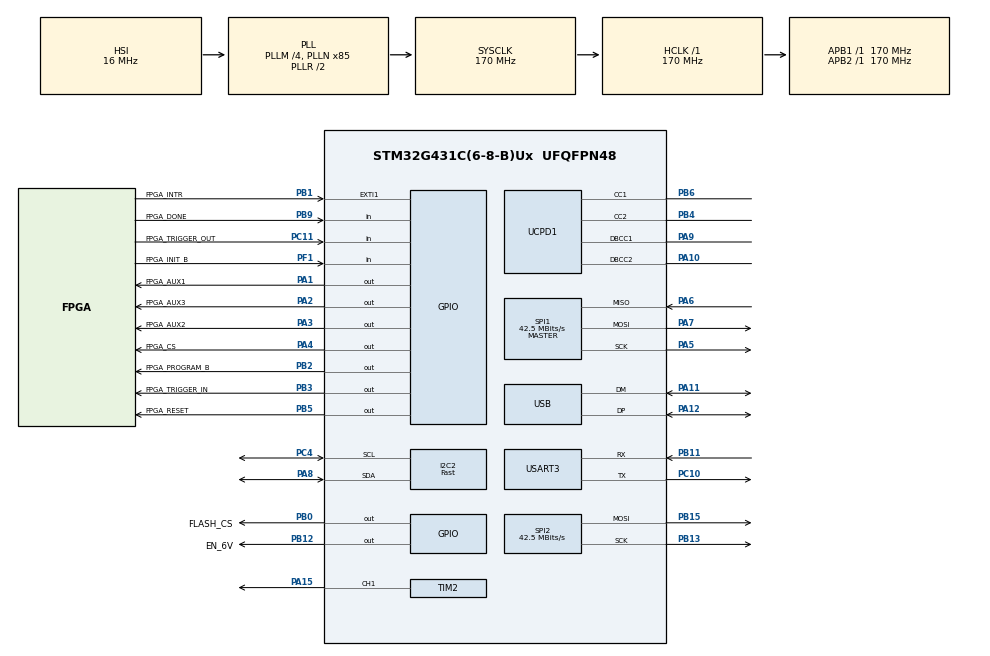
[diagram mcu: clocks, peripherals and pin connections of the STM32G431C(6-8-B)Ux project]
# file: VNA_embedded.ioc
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ADC1.Channel-0\#ChannelRegularConversion=ADC_CHANNEL_TEMPSENSOR_ADC1
ADC1.ClockPrescaler=ADC_CLOCK_ASYNC_DIV4
ADC1.NbrOfConversionFlag=1
ADC1.OffsetNumber-0\#ChannelRegularConversion=ADC_OFFSET_NONE
ADC1.Rank-0\#ChannelRegularConversion=1
ADC1.SamplingTime-0\#ChannelRegularConversion=ADC_SAMPLETIME_92CYCLES_5
ADC1.master=1
Dma.Request0=UCPD1_RX
Dma.Request1=UCPD1_TX
Dma.Request2=SPI1_RX
Dma.Request3=SPI1_TX
Dma.SPI1_RX.2.Direction=DMA_PERIPH_TO_MEMORY
Dma.SPI1_RX.2.EventEnable=DISABLE
Dma.SPI1_RX.2.Instance=DMA1_Channel3
Dma.SPI1_RX.2.MemDataAlignment=DMA_MDATAALIGN_BYTE
Dma.SPI1_RX.2.MemInc=DMA_MINC_ENABLE
Dma.SPI1_RX.2.Mode=DMA_NORMAL
Dma.SPI1_RX.2.PeriphDataAlignment=DMA_PDATAALIGN_BYTE
Dma.SPI1_RX.2.PeriphInc=DMA_PINC_DISABLE
Dma.SPI1_RX.2.Polarity=HAL_DMAMUX_REQ_GEN_RISING
Dma.SPI1_RX.2.Priority=DMA_PRIORITY_VERY_HIGH
Dma.SPI1_RX.2.RequestNumber=1
Dma.SPI1_RX.2.SignalID=NONE
Dma.SPI1_RX.2.SyncEnable=DISABLE
Dma.SPI1_RX.2.SyncPolarity=HAL_DMAMUX_SYNC_NO_EVENT
Dma.SPI1_RX.2.SyncRequestNumber=1
Dma.SPI1_RX.2.SyncSignalID=NONE
Dma.SPI1_TX.3.Direction=DMA_MEMORY_TO_PERIPH
Dma.SPI1_TX.3.EventEnable=DISABLE
Dma.SPI1_TX.3.Instance=DMA1_Channel4
Dma.SPI1_TX.3.MemDataAlignment=DMA_MDATAALIGN_BYTE
Dma.SPI1_TX.3.MemInc=DMA_MINC_ENABLE
Dma.SPI1_TX.3.Mode=DMA_NORMAL
Dma.SPI1_TX.3.PeriphDataAlignment=DMA_PDATAALIGN_BYTE
Dma.SPI1_TX.3.PeriphInc=DMA_PINC_DISABLE
Dma.SPI1_TX.3.Polarity=HAL_DMAMUX_REQ_GEN_RISING
Dma.SPI1_TX.3.Priority=DMA_PRIORITY_VERY_HIGH
Dma.SPI1_TX.3.RequestNumber=1
Dma.SPI1_TX.3.SignalID=NONE
Dma.SPI1_TX.3.SyncEnable=DISABLE
Dma.SPI1_TX.3.SyncPolarity=HAL_DMAMUX_SYNC_NO_EVENT
Dma.SPI1_TX.3.SyncRequestNumber=1
Dma.SPI1_TX.3.SyncSignalID=NONE
Dma.UCPD1_RX.0.Direction=DMA_PERIPH_TO_MEMORY
Dma.UCPD1_RX.0.EventEnable=DISABLE
Dma.UCPD1_RX.0.Instance=DMA1_Channel1
Dma.UCPD1_RX.0.MemDataAlignment=DMA_MDATAALIGN_BYTE
Dma.UCPD1_RX.0.MemInc=DMA_MINC_ENABLE
Dma.UCPD1_RX.0.Mode=DMA_NORMAL
Dma.UCPD1_RX.0.PeriphDataAlignment=DMA_PDATAALIGN_BYTE
Dma.UCPD1_RX.0.PeriphInc=DMA_PINC_DISABLE
Dma.UCPD1_RX.0.Polarity=HAL_DMAMUX_REQ_GEN_RISING
Dma.UCPD1_RX.0.Priority=DMA_PRIORITY_LOW
Dma.UCPD1_RX.0.RequestNumber=1
Dma.UCPD1_RX.0.SignalID=NONE
Dma.UCPD1_RX.0.SyncEnable=DISABLE
Dma.UCPD1_RX.0.SyncPolarity=HAL_DMAMUX_SYNC_NO_EVENT
Dma.UCPD1_RX.0.SyncRequestNumber=1
Dma.UCPD1_RX.0.SyncSignalID=NONE
Dma.UCPD1_TX.1.Direction=DMA_MEMORY_TO_PERIPH
Dma.UCPD1_TX.1.EventEnable=DISABLE
Dma.UCPD1_TX.1.Instance=DMA1_Channel2
Dma.UCPD1_TX.1.MemDataAlignment=DMA_MDATAALIGN_BYTE
Dma.UCPD1_TX.1.MemInc=DMA_MINC_ENABLE
Dma.UCPD1_TX.1.Mode=DMA_NORMAL
Dma.UCPD1_TX.1.PeriphDataAlignment=DMA_PDATAALIGN_BYTE
Dma.UCPD1_TX.1.PeriphInc=DMA_PINC_DISABLE
Dma.UCPD1_TX.1.Polarity=HAL_DMAMUX_REQ_GEN_RISING
Dma.UCPD1_TX.1.Priority=DMA_PRIORITY_LOW
Dma.UCPD1_TX.1.RequestNumber=1
Dma.UCPD1_TX.1.SignalID=NONE
Dma.UCPD1_TX.1.SyncEnable=DISABLE
Dma.UCPD1_TX.1.SyncPolarity=HAL_DMAMUX_SYNC_NO_EVENT
Dma.UCPD1_TX.1.SyncRequestNumber=1
Dma.UCPD1_TX.1.SyncSignalID=NONE
FREERTOS.INCLUDE_uxTaskPriorityGet=0
FREERTOS.INCLUDE_vTaskDelete=0
FREERTOS.INCLUDE_vTaskPrioritySet=0
FREERTOS.INCLUDE_vTaskSuspend=1
FREERTOS.INCLUDE_xTaskResumeFromISR=0
FREERTOS.MEMORY_ALLOCATION=1
FREERTOS.Tasks01=defaultTask,0,1024,StartDefaultTask,Default,NULL,Static,defaultTaskBuffer,defaultTaskControlBlock
FREERTOS.configENABLE_BACKWARD_COMPATIBILITY=1
FREERTOS.configTOTAL_HEAP_SIZE=2048
FREERTOS.configUSE_IDLE_HOOK=1
FREERTOS.configUSE_MUTEXES=1
FREERTOS.configUSE_NEWLIB_REENTRANT=1
I2C2.I2C_Speed_Mode=I2C_Fast
I2C2.Timing=0x10802D9B
Mcu.Family=STM32G4
Mcu.Name=STM32G431C(6-8-B)Ux
Mcu.Package=UFQFPN48
NVIC.DMA1_Channel1_IRQn=true\:7\:0\:true\:false\:true\:true\:false\:true
NVIC.DMA1_Channel2_IRQn=true\:7\:0\:true\:false\:true\:true\:false\:true
NVIC.DMA1_Channel3_IRQn=true\:2\:0\:true\:false\:true\:false\:false\:true
NVIC.DMA1_Channel4_IRQn=true\:2\:0\:true\:false\:true\:false\:false\:true
NVIC.PriorityGroup=NVIC_PRIORITYGROUP_4
NVIC.TIM1_TRG_COM_TIM17_IRQn=true\:0\:0\:true\:false\:true\:false\:false\:true
NVIC.TimeBase=TIM1_TRG_COM_TIM17_IRQn
NVIC.TimeBaseIP=TIM17
NVIC.UCPD1_IRQn=true\:7\:0\:true\:false\:true\:true\:true\:false
PA1.GPIO_Label=FPGA_AUX1
PA1.GPIO_Speed=GPIO_SPEED_FREQ_VERY_HIGH
PA1.Signal=GPIO_Output
PA10.Mode=EnableDeadBattery
PA10.Signal=UCPD1_DBCC2
PA11.Mode=Device
PA11.Signal=USB_DM
PA12.Mode=Device
PA12.Signal=USB_DP
PA13.Mode=Serial_Wire
PA13.Signal=SYS_JTMS-SWDIO
PA14.Mode=Serial_Wire
PA14.Signal=SYS_JTCK-SWCLK
PA15.Signal=S_TIM2_CH1
PA2.GPIO_Label=FPGA_AUX3
PA2.GPIO_Speed=GPIO_SPEED_FREQ_VERY_HIGH
PA2.Signal=GPIO_Output
PA3.GPIO_Label=FPGA_AUX2
PA3.GPIO_Speed=GPIO_SPEED_FREQ_VERY_HIGH
PA3.Signal=GPIO_Output
PA4.GPIO_Label=FPGA_CS
PA4.GPIO_Speed=GPIO_SPEED_FREQ_VERY_HIGH
PA4.PinState=GPIO_PIN_SET
PA4.Signal=GPIO_Output
PA5.GPIO_Speed=GPIO_SPEED_FREQ_VERY_HIGH
PA5.Mode=Full_Duplex_Master
PA5.Signal=SPI1_SCK
PA6.GPIO_Speed=GPIO_SPEED_FREQ_VERY_HIGH
PA6.Mode=Full_Duplex_Master
PA6.Signal=SPI1_MISO
PA7.GPIO_Speed=GPIO_SPEED_FREQ_VERY_HIGH
PA7.Mode=Full_Duplex_Master
PA7.Signal=SPI1_MOSI
PA8.GPIO_Pu=GPIO_PULLUP
PA8.Mode=I2C
PA8.Signal=I2C2_SDA
PA9.Mode=EnableDeadBattery
PA9.Signal=UCPD1_DBCC1
PB0.GPIO_Label=FLASH_CS
PB0.GPIO_Speed=GPIO_SPEED_FREQ_VERY_HIGH
PB0.PinState=GPIO_PIN_SET
PB0.Signal=GPIO_Output
PB1.GPIO_Label=FPGA_INTR
PB1.Signal=GPXTI1
PB11.Mode=Asynchronous
PB11.Signal=USART3_RX
PB12.GPIO_Label=EN_6V
PB12.Signal=GPIO_Output
PB13.GPIO_Speed=GPIO_SPEED_FREQ_VERY_HIGH
PB13.Mode=TX_Only_Simplex_Unidirect_Master
PB13.Signal=SPI2_SCK
PB15.GPIO_Speed=GPIO_SPEED_FREQ_VERY_HIGH
PB15.Mode=TX_Only_Simplex_Unidirect_Master
PB15.Signal=SPI2_MOSI
PB2.GPIO_Label=FPGA_PROGRAM_B
PB2.Signal=GPIO_Output
PB3.GPIO_Label=FPGA_TRIGGER_IN
PB3.Signal=GPIO_Output
PB4.Mode=Sink_AllSignals
PB4.Signal=UCPD1_CC2
PB5.GPIO_Label=FPGA_RESET
PB5.Signal=GPIO_Output
PB6.Mode=Sink_AllSignals
PB6.Signal=UCPD1_CC1
PB9.GPIO_Label=FPGA_DONE
PB9.Signal=GPIO_Input
PC10.Mode=Asynchronous
PC10.Signal=USART3_TX
PC11.GPIO_Label=FPGA_TRIGGER_OUT
PC11.GPIO_PuPd=GPIO_PULLDOWN
PC11.Signal=GPIO_Input
PC4.GPIO_Pu=GPIO_PULLUP
PC4.Mode=I2C
PC4.Signal=I2C2_SCL
PF1-OSC_OUT.GPIO_Label=FPGA_INIT_B
PF1-OSC_OUT.Signal=GPIO_Input
ProjectManager.HeapSize=0x200
ProjectManager.StackSize=0x400
ProjectManager.TargetToolchain=STM32CubeIDE
RCC.ADC12Freq_Value=170000000
RCC.AHBFreq_Value=170000000
RCC.APB1Freq_Value=170000000
RCC.APB1TimFreq_Value=170000000
RCC.APB2Freq_Value=170000000
RCC.APB2TimFreq_Value=170000000
RCC.CK48CLockSelection=RCC_USBCLKSOURCE_HSI48
RCC.CortexFreq_Value=170000000
RCC.EXTERNAL_CLOCK_VALUE=12288000
RCC.HCLKFreq_Value=170000000
RCC.HSE_VALUE=8000000
RCC.HSI48_VALUE=48000000
RCC.HSI_VALUE=16000000
RCC.LSE_VALUE=32768
RCC.PLLM=RCC_PLLM_DIV4
RCC.PLLN=85
RCC.PLLQ=RCC_PLLQ_DIV4
RCC.SYSCLKFreq_VALUE=170000000
RCC.SYSCLKSource=RCC_SYSCLKSOURCE_PLLCLK
RCC.USBFreq_Value=48000000
RCC.VCOOutputFreq_Value=340000000
SH.S_TIM2_CH1.0=TIM2_CH1,PWM Generation1 CH1
SPI1.BaudRatePrescaler=SPI_BAUDRATEPRESCALER_4
SPI1.CalculateBaudRate=42.5 MBits/s
SPI1.DataSize=SPI_DATASIZE_8BIT
SPI1.Direction=SPI_DIRECTION_2LINES
SPI1.Mode=SPI_MODE_MASTER
SPI1.VirtualType=VM_MASTER
SPI2.BaudRatePrescaler=SPI_BAUDRATEPRESCALER_4
SPI2.CalculateBaudRate=42.5 MBits/s
SPI2.DataSize=SPI_DATASIZE_8BIT
SPI2.Direction=SPI_DIRECTION_2LINES
SPI2.Mode=SPI_MODE_MASTER
SPI2.VirtualType=VM_MASTER
TIM1.Prescaler=159
TIM2.Channel-PWM\ Generation1\ CH1=TIM_CHANNEL_1
TIM2.OCMode_PWM-PWM\ Generation1\ CH1=TIM_OCMODE_PWM2
TIM2.PeriodNoDither=99
TIM2.Prescaler=143
USART3.VirtualMode-Asynchronous=VM_ASYNC
USART3.WordLength=WORDLENGTH_8B
VP_ADC1_TempSens_Input.Mode=IN-TempSens
VP_FREERTOS_VS_CMSIS_V1.Mode=CMSIS_V1
VP_SYS_VS_DBSignals.Mode=DisableDeadBatterySignals
VP_SYS_VS_tim17.Mode=TIM17
VP_TIM1_VS_ClockSourceINT.Mode=Internal
VP_TIM2_VS_ClockSourceINT.Mode=Internal
board=custom

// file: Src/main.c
/* USER CODE BEGIN Header */
/**
  ******************************************************************************
  * @file           : main.c
  * @brief          : Main program body
  ******************************************************************************
  * @attention
  *
  * Copyright (c) 2022 STMicroelectronics.
  * All rights reserved.
  *
  * This software is licensed under terms that can be found in the LICENSE file
  * in the root directory of this software component.
  * If no LICENSE file comes with this software, it is provided AS-IS.
  *
  ******************************************************************************
  */
/* USER CODE END Header */
#include "main.h"
#include "cmsis_os.h"

/* USER CODE BEGIN Includes */
#include "App.h"
/* USER CODE END Includes */

ADC_HandleTypeDef hadc1;

I2C_HandleTypeDef hi2c2;

SPI_HandleTypeDef hspi1;
SPI_HandleTypeDef hspi2;
DMA_HandleTypeDef hdma_spi1_rx;
DMA_HandleTypeDef hdma_spi1_tx;

TIM_HandleTypeDef htim1;
TIM_HandleTypeDef htim2;

UART_HandleTypeDef huart3;

PCD_HandleTypeDef hpcd_USB_FS;

osThreadId defaultTaskHandle;
uint32_t defaultTaskBuffer[ 1024 ];
osStaticThreadDef_t defaultTaskControlBlock;

void SystemClock_Config(void);
static void MX_GPIO_Init(void);
static void MX_DMA_Init(void);
static void MX_I2C2_Init(void);
static void MX_SPI1_Init(void);
static void MX_SPI2_Init(void);
static void MX_UCPD1_Init(void);
static void MX_USART3_UART_Init(void);
static void MX_USB_PCD_Init(void);
static void MX_TIM1_Init(void);
static void MX_TIM2_Init(void);
static void MX_ADC1_Init(void);
void StartDefaultTask(void const * argument);

int main(void)
{

  /* MCU Configuration--------------------------------------------------------*/

  /* Reset of all peripherals, Initializes the Flash interface and the Systick. */
  HAL_Init();

  /* Configure the system clock */
  SystemClock_Config();

  /* USER CODE BEGIN SysInit */
  MX_I2C2_Init();
  uint8_t ctrl = 0x09;
  HAL_I2C_Mem_Write(&hi2c2, 0x42, 0x01, I2C_MEMADD_SIZE_8BIT, &ctrl, 1, 100);
  /* USER CODE END SysInit */

  /* Initialize all configured peripherals */
  MX_GPIO_Init();
  MX_DMA_Init();
  MX_I2C2_Init();
  MX_SPI1_Init();
  MX_SPI2_Init();
  MX_UCPD1_Init();
  MX_USART3_UART_Init();
  MX_USB_PCD_Init();
  MX_TIM1_Init();
  MX_TIM2_Init();
  MX_ADC1_Init();

  /* Create the thread(s) */
  /* definition and creation of defaultTask */
  osThreadStaticDef(defaultTask, StartDefaultTask, osPriorityNormal, 0, 1024, defaultTaskBuffer, &defaultTaskControlBlock);
  defaultTaskHandle = osThreadCreate(osThread(defaultTask), NULL);

  /* Start scheduler */
  osKernelStart();

  /* We should never get here as control is now taken by the scheduler */
  /* Infinite loop */
  while (1)
  {

  }
}

void SystemClock_Config(void)
{
  RCC_OscInitTypeDef RCC_OscInitStruct = {0};
  RCC_ClkInitTypeDef RCC_ClkInitStruct = {0};

  /** Configure the main internal regulator output voltage
  */
  HAL_PWREx_ControlVoltageScaling(PWR_REGULATOR_VOLTAGE_SCALE1_BOOST);
  /** Initializes the RCC Oscillators according to the specified parameters
  * in the RCC_OscInitTypeDef structure.
  */
  RCC_OscInitStruct.OscillatorType = RCC_OSCILLATORTYPE_HSI|RCC_OSCILLATORTYPE_HSI48;
  RCC_OscInitStruct.HSIState = RCC_HSI_ON;
  RCC_OscInitStruct.HSICalibrationValue = RCC_HSICALIBRATION_DEFAULT;
  RCC_OscInitStruct.HSI48State = RCC_HSI48_ON;
  RCC_OscInitStruct.PLL.PLLState = RCC_PLL_ON;
  RCC_OscInitStruct.PLL.PLLSource = RCC_PLLSOURCE_HSI;
  RCC_OscInitStruct.PLL.PLLM = RCC_PLLM_DIV4;
  RCC_OscInitStruct.PLL.PLLN = 85;
  RCC_OscInitStruct.PLL.PLLP = RCC_PLLP_DIV2;
  RCC_OscInitStruct.PLL.PLLQ = RCC_PLLQ_DIV4;
  RCC_OscInitStruct.PLL.PLLR = RCC_PLLR_DIV2;
  if (HAL_RCC_OscConfig(&RCC_OscInitStruct) != HAL_OK)
  {
    Error_Handler();
  }
  /** Initializes the CPU, AHB and APB buses clocks
  */
  RCC_ClkInitStruct.ClockType = RCC_CLOCKTYPE_HCLK|RCC_CLOCKTYPE_SYSCLK
                              |RCC_CLOCKTYPE_PCLK1|RCC_CLOCKTYPE_PCLK2;
  RCC_ClkInitStruct.SYSCLKSource = RCC_SYSCLKSOURCE_PLLCLK;
  RCC_ClkInitStruct.AHBCLKDivider = RCC_SYSCLK_DIV1;
  RCC_ClkInitStruct.APB1CLKDivider = RCC_HCLK_DIV1;
  RCC_ClkInitStruct.APB2CLKDivider = RCC_HCLK_DIV1;

  if (HAL_RCC_ClockConfig(&RCC_ClkInitStruct, FLASH_LATENCY_4) != HAL_OK)
  {
    Error_Handler();
  }
}

static void MX_ADC1_Init(void)
{

  ADC_MultiModeTypeDef multimode = {0};
  ADC_ChannelConfTypeDef sConfig = {0};

  /** Common config
  */
  hadc1.Instance = ADC1;
  hadc1.Init.ClockPrescaler = ADC_CLOCK_ASYNC_DIV4;
  hadc1.Init.Resolution = ADC_RESOLUTION_12B;
  hadc1.Init.DataAlign = ADC_DATAALIGN_RIGHT;
  hadc1.Init.GainCompensation = 0;
  hadc1.Init.ScanConvMode = ADC_SCAN_DISABLE;
  hadc1.Init.EOCSelection = ADC_EOC_SINGLE_CONV;
  hadc1.Init.LowPowerAutoWait = DISABLE;
  hadc1.Init.ContinuousConvMode = DISABLE;
  hadc1.Init.NbrOfConversion = 1;
  hadc1.Init.DiscontinuousConvMode = DISABLE;
  hadc1.Init.ExternalTrigConv = ADC_SOFTWARE_START;
  hadc1.Init.ExternalTrigConvEdge = ADC_EXTERNALTRIGCONVEDGE_NONE;
  hadc1.Init.DMAContinuousRequests = DISABLE;
  hadc1.Init.Overrun = ADC_OVR_DATA_PRESERVED;
  hadc1.Init.OversamplingMode = DISABLE;
  if (HAL_ADC_Init(&hadc1) != HAL_OK)
  {
    Error_Handler();
  }
  /** Configure the ADC multi-mode
  */
  multimode.Mode = ADC_MODE_INDEPENDENT;
  if (HAL_ADCEx_MultiModeConfigChannel(&hadc1, &multimode) != HAL_OK)
  {
    Error_Handler();
  }
  /** Configure Regular Channel
  */
  sConfig.Channel = ADC_CHANNEL_TEMPSENSOR_ADC1;
  sConfig.Rank = ADC_REGULAR_RANK_1;
  sConfig.SamplingTime = ADC_SAMPLETIME_92CYCLES_5;
  sConfig.SingleDiff = ADC_SINGLE_ENDED;
  sConfig.OffsetNumber = ADC_OFFSET_NONE;
  sConfig.Offset = 0;
  if (HAL_ADC_ConfigChannel(&hadc1, &sConfig) != HAL_OK)
  {
    Error_Handler();
  }
  /* USER CODE BEGIN ADC1_Init 2 */
  HAL_ADCEx_Calibration_Start(&hadc1, ADC_SINGLE_ENDED);
  /* USER CODE END ADC1_Init 2 */

}

static void MX_I2C2_Init(void)
{

  hi2c2.Instance = I2C2;
  hi2c2.Init.Timing = 0x10802D9B;
  hi2c2.Init.OwnAddress1 = 0;
  hi2c2.Init.AddressingMode = I2C_ADDRESSINGMODE_7BIT;
  hi2c2.Init.DualAddressMode = I2C_DUALADDRESS_DISABLE;
  hi2c2.Init.OwnAddress2 = 0;
  hi2c2.Init.OwnAddress2Masks = I2C_OA2_NOMASK;
  hi2c2.Init.GeneralCallMode = I2C_GENERALCALL_DISABLE;
  hi2c2.Init.NoStretchMode = I2C_NOSTRETCH_DISABLE;
  if (HAL_I2C_Init(&hi2c2) != HAL_OK)
  {
    Error_Handler();
  }
  /** Configure Analogue filter
  */
  if (HAL_I2CEx_ConfigAnalogFilter(&hi2c2, I2C_ANALOGFILTER_ENABLE) != HAL_OK)
  {
    Error_Handler();
  }
  /** Configure Digital filter
  */
  if (HAL_I2CEx_ConfigDigitalFilter(&hi2c2, 0) != HAL_OK)
  {
    Error_Handler();
  }

}

static void MX_SPI1_Init(void)
{

  /* SPI1 parameter configuration*/
  hspi1.Instance = SPI1;
  hspi1.Init.Mode = SPI_MODE_MASTER;
  hspi1.Init.Direction = SPI_DIRECTION_2LINES;
  hspi1.Init.DataSize = SPI_DATASIZE_8BIT;
  hspi1.Init.CLKPolarity = SPI_POLARITY_LOW;
  hspi1.Init.CLKPhase = SPI_PHASE_1EDGE;
  hspi1.Init.NSS = SPI_NSS_SOFT;
  hspi1.Init.BaudRatePrescaler = SPI_BAUDRATEPRESCALER_4;
  hspi1.Init.FirstBit = SPI_FIRSTBIT_MSB;
  hspi1.Init.TIMode = SPI_TIMODE_DISABLE;
  hspi1.Init.CRCCalculation = SPI_CRCCALCULATION_DISABLE;
  hspi1.Init.CRCPolynomial = 7;
  hspi1.Init.CRCLength = SPI_CRC_LENGTH_DATASIZE;
  hspi1.Init.NSSPMode = SPI_NSS_PULSE_ENABLE;
  if (HAL_SPI_Init(&hspi1) != HAL_OK)
  {
    Error_Handler();
  }

}

static void MX_SPI2_Init(void)
{

  /* SPI2 parameter configuration*/
  hspi2.Instance = SPI2;
  hspi2.Init.Mode = SPI_MODE_MASTER;
  hspi2.Init.Direction = SPI_DIRECTION_2LINES;
  hspi2.Init.DataSize = SPI_DATASIZE_8BIT;
  hspi2.Init.CLKPolarity = SPI_POLARITY_LOW;
  hspi2.Init.CLKPhase = SPI_PHASE_1EDGE;
  hspi2.Init.NSS = SPI_NSS_SOFT;
  hspi2.Init.BaudRatePrescaler = SPI_BAUDRATEPRESCALER_4;
  hspi2.Init.FirstBit = SPI_FIRSTBIT_MSB;
  hspi2.Init.TIMode = SPI_TIMODE_DISABLE;
  hspi2.Init.CRCCalculation = SPI_CRCCALCULATION_DISABLE;
  hspi2.Init.CRCPolynomial = 7;
  hspi2.Init.CRCLength = SPI_CRC_LENGTH_DATASIZE;
  hspi2.Init.NSSPMode = SPI_NSS_PULSE_ENABLE;
  if (HAL_SPI_Init(&hspi2) != HAL_OK)
  {
    Error_Handler();
  }

}

static void MX_TIM1_Init(void)
{

  TIM_ClockConfigTypeDef sClockSourceConfig = {0};
  TIM_MasterConfigTypeDef sMasterConfig = {0};

  htim1.Instance = TIM1;
  htim1.Init.Prescaler = 159;
  htim1.Init.CounterMode = TIM_COUNTERMODE_UP;
  htim1.Init.Period = 65535;
  htim1.Init.ClockDivision = TIM_CLOCKDIVISION_DIV1;
  htim1.Init.RepetitionCounter = 0;
  htim1.Init.AutoReloadPreload = TIM_AUTORELOAD_PRELOAD_DISABLE;
  if (HAL_TIM_Base_Init(&htim1) != HAL_OK)
  {
    Error_Handler();
  }
  sClockSourceConfig.ClockSource = TIM_CLOCKSOURCE_INTERNAL;
  if (HAL_TIM_ConfigClockSource(&htim1, &sClockSourceConfig) != HAL_OK)
  {
    Error_Handler();
  }
  sMasterConfig.MasterOutputTrigger = TIM_TRGO_RESET;
  sMasterConfig.MasterOutputTrigger2 = TIM_TRGO2_RESET;
  sMasterConfig.MasterSlaveMode = TIM_MASTERSLAVEMODE_DISABLE;
  if (HAL_TIMEx_MasterConfigSynchronization(&htim1, &sMasterConfig) != HAL_OK)
  {
    Error_Handler();
  }

}

static void MX_TIM2_Init(void)
{

  TIM_ClockConfigTypeDef sClockSourceConfig = {0};
  TIM_MasterConfigTypeDef sMasterConfig = {0};
  TIM_OC_InitTypeDef sConfigOC = {0};

  htim2.Instance = TIM2;
  htim2.Init.Prescaler = 143;
  htim2.Init.CounterMode = TIM_COUNTERMODE_UP;
  htim2.Init.Period = 99;
  htim2.Init.ClockDivision = TIM_CLOCKDIVISION_DIV1;
  htim2.Init.AutoReloadPreload = TIM_AUTORELOAD_PRELOAD_DISABLE;
  if (HAL_TIM_Base_Init(&htim2) != HAL_OK)
  {
    Error_Handler();
  }
  sClockSourceConfig.ClockSource = TIM_CLOCKSOURCE_INTERNAL;
  if (HAL_TIM_ConfigClockSource(&htim2, &sClockSourceConfig) != HAL_OK)
  {
    Error_Handler();
  }
  if (HAL_TIM_PWM_Init(&htim2) != HAL_OK)
  {
    Error_Handler();
  }
  sMasterConfig.MasterOutputTrigger = TIM_TRGO_RESET;
  sMasterConfig.MasterSlaveMode = TIM_MASTERSLAVEMODE_DISABLE;
  if (HAL_TIMEx_MasterConfigSynchronization(&htim2, &sMasterConfig) != HAL_OK)
  {
    Error_Handler();
  }
  sConfigOC.OCMode = TIM_OCMODE_PWM2;
  sConfigOC.Pulse = 0;
  sConfigOC.OCPolarity = TIM_OCPOLARITY_HIGH;
  sConfigOC.OCFastMode = TIM_OCFAST_DISABLE;
  if (HAL_TIM_PWM_ConfigChannel(&htim2, &sConfigOC, TIM_CHANNEL_1) != HAL_OK)
  {
    Error_Handler();
  }
  HAL_TIM_MspPostInit(&htim2);

}

static void MX_UCPD1_Init(void)
{

  LL_GPIO_InitTypeDef GPIO_InitStruct = {0};

  /* Peripheral clock enable */
  LL_APB1_GRP2_EnableClock(LL_APB1_GRP2_PERIPH_UCPD1);

  LL_AHB2_GRP1_EnableClock(LL_AHB2_GRP1_PERIPH_GPIOB);
  /**UCPD1 GPIO Configuration
  PB4   ------> UCPD1_CC2
  PB6   ------> UCPD1_CC1
  */
  GPIO_InitStruct.Pin = LL_GPIO_PIN_4;
  GPIO_InitStruct.Mode = LL_GPIO_MODE_ANALOG;
  GPIO_InitStruct.Pull = LL_GPIO_PULL_NO;
  LL_GPIO_Init(GPIOB, &GPIO_InitStruct);

  GPIO_InitStruct.Pin = LL_GPIO_PIN_6;
  GPIO_InitStruct.Mode = LL_GPIO_MODE_ANALOG;
  GPIO_InitStruct.Pull = LL_GPIO_PULL_NO;
  LL_GPIO_Init(GPIOB, &GPIO_InitStruct);

  /* UCPD1 DMA Init */

  /* UCPD1_RX Init */
  LL_DMA_SetPeriphRequest(DMA1, LL_DMA_CHANNEL_1, LL_DMAMUX_REQ_UCPD1_RX);

  LL_DMA_SetDataTransferDirection(DMA1, LL_DMA_CHANNEL_1, LL_DMA_DIRECTION_PERIPH_TO_MEMORY);

  LL_DMA_SetChannelPriorityLevel(DMA1, LL_DMA_CHANNEL_1, LL_DMA_PRIORITY_LOW);

  LL_DMA_SetMode(DMA1, LL_DMA_CHANNEL_1, LL_DMA_MODE_NORMAL);

  LL_DMA_SetPeriphIncMode(DMA1, LL_DMA_CHANNEL_1, LL_DMA_PERIPH_NOINCREMENT);

  LL_DMA_SetMemoryIncMode(DMA1, LL_DMA_CHANNEL_1, LL_DMA_MEMORY_INCREMENT);

  LL_DMA_SetPeriphSize(DMA1, LL_DMA_CHANNEL_1, LL_DMA_PDATAALIGN_BYTE);

  LL_DMA_SetMemorySize(DMA1, LL_DMA_CHANNEL_1, LL_DMA_MDATAALIGN_BYTE);

  /* UCPD1_TX Init */
  LL_DMA_SetPeriphRequest(DMA1, LL_DMA_CHANNEL_2, LL_DMAMUX_REQ_UCPD1_TX);

  LL_DMA_SetDataTransferDirection(DMA1, LL_DMA_CHANNEL_2, LL_DMA_DIRECTION_MEMORY_TO_PERIPH);

  LL_DMA_SetChannelPriorityLevel(DMA1, LL_DMA_CHANNEL_2, LL_DMA_PRIORITY_LOW);

  LL_DMA_SetMode(DMA1, LL_DMA_CHANNEL_2, LL_DMA_MODE_NORMAL);

  LL_DMA_SetPeriphIncMode(DMA1, LL_DMA_CHANNEL_2, LL_DMA_PERIPH_NOINCREMENT);

  LL_DMA_SetMemoryIncMode(DMA1, LL_DMA_CHANNEL_2, LL_DMA_MEMORY_INCREMENT);

  LL_DMA_SetPeriphSize(DMA1, LL_DMA_CHANNEL_2, LL_DMA_PDATAALIGN_BYTE);

  LL_DMA_SetMemorySize(DMA1, LL_DMA_CHANNEL_2, LL_DMA_MDATAALIGN_BYTE);

  /* UCPD1 interrupt Init */
  NVIC_SetPriority(UCPD1_IRQn, NVIC_EncodePriority(NVIC_GetPriorityGrouping(),7, 0));
  NVIC_EnableIRQ(UCPD1_IRQn);

}

static void MX_USART3_UART_Init(void)
{

  huart3.Instance = USART3;
  huart3.Init.BaudRate = 115200;
  huart3.Init.WordLength = UART_WORDLENGTH_8B;
  huart3.Init.StopBits = UART_STOPBITS_1;
  huart3.Init.Parity = UART_PARITY_NONE;
  huart3.Init.Mode = UART_MODE_TX_RX;
  huart3.Init.HwFlowCtl = UART_HWCONTROL_NONE;
  huart3.Init.OverSampling = UART_OVERSAMPLING_16;
  huart3.Init.OneBitSampling = UART_ONE_BIT_SAMPLE_DISABLE;
  huart3.Init.ClockPrescaler = UART_PRESCALER_DIV1;
  huart3.AdvancedInit.AdvFeatureInit = UART_ADVFEATURE_NO_INIT;
  if (HAL_UART_Init(&huart3) != HAL_OK)
  {
    Error_Handler();
  }
  if (HAL_UARTEx_SetTxFifoThreshold(&huart3, UART_TXFIFO_THRESHOLD_1_8) != HAL_OK)
  {
    Error_Handler();
  }
  if (HAL_UARTEx_SetRxFifoThreshold(&huart3, UART_RXFIFO_THRESHOLD_1_8) != HAL_OK)
  {
    Error_Handler();
  }
  if (HAL_UARTEx_DisableFifoMode(&huart3) != HAL_OK)
  {
    Error_Handler();
  }

}

static void MX_USB_PCD_Init(void)
{

  hpcd_USB_FS.Instance = USB;
  hpcd_USB_FS.Init.dev_endpoints = 8;
  hpcd_USB_FS.Init.speed = PCD_SPEED_FULL;
  hpcd_USB_FS.Init.phy_itface = PCD_PHY_EMBEDDED;
  hpcd_USB_FS.Init.Sof_enable = DISABLE;
  hpcd_USB_FS.Init.low_power_enable = DISABLE;
  hpcd_USB_FS.Init.lpm_enable = DISABLE;
  hpcd_USB_FS.Init.battery_charging_enable = DISABLE;
  if (HAL_PCD_Init(&hpcd_USB_FS) != HAL_OK)
  {
    Error_Handler();
  }

}

static void MX_DMA_Init(void)
{

  /* DMA controller clock enable */
  __HAL_RCC_DMAMUX1_CLK_ENABLE();
  __HAL_RCC_DMA1_CLK_ENABLE();

  /* DMA interrupt init */
  /* DMA1_Channel1_IRQn interrupt configuration */
  NVIC_SetPriority(DMA1_Channel1_IRQn, NVIC_EncodePriority(NVIC_GetPriorityGrouping(),7, 0));
  NVIC_EnableIRQ(DMA1_Channel1_IRQn);
  /* DMA1_Channel2_IRQn interrupt configuration */
  NVIC_SetPriority(DMA1_Channel2_IRQn, NVIC_EncodePriority(NVIC_GetPriorityGrouping(),7, 0));
  NVIC_EnableIRQ(DMA1_Channel2_IRQn);
  /* DMA1_Channel3_IRQn interrupt configuration */
  HAL_NVIC_SetPriority(DMA1_Channel3_IRQn, 2, 0);
  HAL_NVIC_EnableIRQ(DMA1_Channel3_IRQn);
  /* DMA1_Channel4_IRQn interrupt configuration */
  HAL_NVIC_SetPriority(DMA1_Channel4_IRQn, 2, 0);
  HAL_NVIC_EnableIRQ(DMA1_Channel4_IRQn);

}

static void MX_GPIO_Init(void)
{
  GPIO_InitTypeDef GPIO_InitStruct = {0};

  /* GPIO Ports Clock Enable */
  __HAL_RCC_GPIOF_CLK_ENABLE();
  __HAL_RCC_GPIOA_CLK_ENABLE();
  __HAL_RCC_GPIOC_CLK_ENABLE();
  __HAL_RCC_GPIOB_CLK_ENABLE();

  /*Configure GPIO pin Output Level */
  HAL_GPIO_WritePin(GPIOA, FPGA_AUX1_Pin|FPGA_AUX3_Pin|FPGA_AUX2_Pin, GPIO_PIN_RESET);

  /*Configure GPIO pin Output Level */
  HAL_GPIO_WritePin(FPGA_CS_GPIO_Port, FPGA_CS_Pin, GPIO_PIN_SET);

  /*Configure GPIO pin Output Level */
  HAL_GPIO_WritePin(FLASH_CS_GPIO_Port, FLASH_CS_Pin, GPIO_PIN_SET);

  /*Configure GPIO pin Output Level */
  HAL_GPIO_WritePin(GPIOB, FPGA_PROGRAM_B_Pin|EN_6V_Pin|FPGA_TRIGGER_IN_Pin|FPGA_RESET_Pin, GPIO_PIN_RESET);

  /*Configure GPIO pin : FPGA_INIT_B_Pin */
  GPIO_InitStruct.Pin = FPGA_INIT_B_Pin;
  GPIO_InitStruct.Mode = GPIO_MODE_INPUT;
  GPIO_InitStruct.Pull = GPIO_NOPULL;
  HAL_GPIO_Init(FPGA_INIT_B_GPIO_Port, &GPIO_InitStruct);

  /*Configure GPIO pins : FPGA_AUX1_Pin FPGA_AUX3_Pin FPGA_AUX2_Pin FPGA_CS_Pin */
  GPIO_InitStruct.Pin = FPGA_AUX1_Pin|FPGA_AUX3_Pin|FPGA_AUX2_Pin|FPGA_CS_Pin;
  GPIO_InitStruct.Mode = GPIO_MODE_OUTPUT_PP;
  GPIO_InitStruct.Pull = GPIO_NOPULL;
  GPIO_InitStruct.Speed = GPIO_SPEED_FREQ_VERY_HIGH;
  HAL_GPIO_Init(GPIOA, &GPIO_InitStruct);

  /*Configure GPIO pin : FLASH_CS_Pin */
  GPIO_InitStruct.Pin = FLASH_CS_Pin;
  GPIO_InitStruct.Mode = GPIO_MODE_OUTPUT_PP;
  GPIO_InitStruct.Pull = GPIO_NOPULL;
  GPIO_InitStruct.Speed = GPIO_SPEED_FREQ_VERY_HIGH;
  HAL_GPIO_Init(FLASH_CS_GPIO_Port, &GPIO_InitStruct);

  /*Configure GPIO pin : FPGA_INTR_Pin */
  GPIO_InitStruct.Pin = FPGA_INTR_Pin;
  GPIO_InitStruct.Mode = GPIO_MODE_IT_RISING;
  GPIO_InitStruct.Pull = GPIO_NOPULL;
  HAL_GPIO_Init(FPGA_INTR_GPIO_Port, &GPIO_InitStruct);

  /*Configure GPIO pins : FPGA_PROGRAM_B_Pin EN_6V_Pin FPGA_TRIGGER_IN_Pin FPGA_RESET_Pin */
  GPIO_InitStruct.Pin = FPGA_PROGRAM_B_Pin|EN_6V_Pin|FPGA_TRIGGER_IN_Pin|FPGA_RESET_Pin;
  GPIO_InitStruct.Mode = GPIO_MODE_OUTPUT_PP;
  GPIO_InitStruct.Pull = GPIO_NOPULL;
  GPIO_InitStruct.Speed = GPIO_SPEED_FREQ_LOW;
  HAL_GPIO_Init(GPIOB, &GPIO_InitStruct);

  /*Configure GPIO pin : FPGA_TRIGGER_OUT_Pin */
  GPIO_InitStruct.Pin = FPGA_TRIGGER_OUT_Pin;
  GPIO_InitStruct.Mode = GPIO_MODE_INPUT;
  GPIO_InitStruct.Pull = GPIO_PULLDOWN;
  HAL_GPIO_Init(FPGA_TRIGGER_OUT_GPIO_Port, &GPIO_InitStruct);

  /*Configure GPIO pin : FPGA_DONE_Pin */
  GPIO_InitStruct.Pin = FPGA_DONE_Pin;
  GPIO_InitStruct.Mode = GPIO_MODE_INPUT;
  GPIO_InitStruct.Pull = GPIO_NOPULL;
  HAL_GPIO_Init(FPGA_DONE_GPIO_Port, &GPIO_InitStruct);

}

void StartDefaultTask(void const * argument)
{
  /* USER CODE BEGIN 5 */
  App_Start();
  /* Infinite loop */
  for(;;)
  {
    osDelay(1);
  }
  /* USER CODE END 5 */
}

void HAL_TIM_PeriodElapsedCallback(TIM_HandleTypeDef *htim)
{
  if (htim->Instance == TIM17) {
    HAL_IncTick();
  }
}

void Error_Handler(void)
{
  __disable_irq();
  while (1)
  {
  }
}

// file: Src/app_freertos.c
/* USER CODE BEGIN Header */
/**
  ******************************************************************************
  * File Name          : app_freertos.c
  * Description        : Code for freertos applications
  ******************************************************************************
  * @attention
  *
  * Copyright (c) 2022 STMicroelectronics.
  * All rights reserved.
  *
  * This software is licensed under terms that can be found in the LICENSE file
  * in the root directory of this software component.
  * If no LICENSE file comes with this software, it is provided AS-IS.
  *
  ******************************************************************************
  */
/* USER CODE END Header */

#include "FreeRTOS.h"
#include "task.h"
#include "main.h"

/* GetIdleTaskMemory prototype (linked to static allocation support) */
void vApplicationGetIdleTaskMemory( StaticTask_t **ppxIdleTaskTCBBuffer, StackType_t **ppxIdleTaskStackBuffer, uint32_t *pulIdleTaskStackSize );

/* Hook prototypes */
void vApplicationIdleHook(void);

/* USER CODE BEGIN 2 */
__weak void vApplicationIdleHook( void )
{
   /* vApplicationIdleHook() will only be called if configUSE_IDLE_HOOK is set
   to 1 in FreeRTOSConfig.h. It will be called on each iteration of the idle
   task. It is essential that code added to this hook function never attempts
   to block in any way (for example, call xQueueReceive() with a block time
   specified, or call vTaskDelay()). If the application makes use of the
   vTaskDelete() API function (as this demo application does) then it is also
   important that vApplicationIdleHook() is permitted to return to its calling
   function, because it is the responsibility of the idle task to clean up
   memory allocated by the kernel to any task that has since been deleted. */
}
/* USER CODE END 2 */

/* USER CODE BEGIN GET_IDLE_TASK_MEMORY */
static StaticTask_t xIdleTaskTCBBuffer;
static StackType_t xIdleStack[configMINIMAL_STACK_SIZE];

void vApplicationGetIdleTaskMemory( StaticTask_t **ppxIdleTaskTCBBuffer, StackType_t **ppxIdleTaskStackBuffer, uint32_t *pulIdleTaskStackSize )
{
  *ppxIdleTaskTCBBuffer = &xIdleTaskTCBBuffer;
  *ppxIdleTaskStackBuffer = &xIdleStack[0];
  *pulIdleTaskStackSize = configMINIMAL_STACK_SIZE;
  /* place for user code */
}
/* USER CODE END GET_IDLE_TASK_MEMORY */

/* USER CODE BEGIN Application */
/* The prototype shows it is a naked function - in effect this is just an
assembly function. */
void HardFault_Handler( void ) __attribute__( ( naked ) );

void prvGetRegistersFromStack( uint32_t *pulFaultStackAddress )
{
	/* These are volatile to try and prevent the compiler/linker optimising them
	away as the variables never actually get used.  If the debugger won't show the
	values of the variables, make them global my moving their declaration outside
	of this function. */
	volatile uint32_t r0;
	volatile uint32_t r1;
	volatile uint32_t r2;
	volatile uint32_t r3;
	volatile uint32_t r12;
	volatile uint32_t lr; /* Link register. */
	volatile uint32_t pc; /* Program counter. */
	volatile uint32_t psr;/* Program status register. */

    r0 = pulFaultStackAddress[ 0 ];
    r1 = pulFaultStackAddress[ 1 ];
    r2 = pulFaultStackAddress[ 2 ];
    r3 = pulFaultStackAddress[ 3 ];

    r12 = pulFaultStackAddress[ 4 ];
    lr = pulFaultStackAddress[ 5 ];
    pc = pulFaultStackAddress[ 6 ];
    psr = pulFaultStackAddress[ 7 ];

    /* When the following line is hit, the variables contain the register values. */
    for( ;; );
}

/* The fault handler implementation calls a function called
prvGetRegistersFromStack(). */
void HardFault_Handler(void)
{
    __asm volatile
    (
        " tst lr, #4                                                \n"
        " ite eq                                                    \n"
        " mrseq r0, msp                                             \n"
        " mrsne r0, psp                                             \n"
        " ldr r1, [r0, #24]                                         \n"
        " ldr r2, handler2_address_const                            \n"
        " bx r2                                                     \n"
        " handler2_address_const: .word prvGetRegistersFromStack    \n"
    );
}
/* USER CODE END Application */
